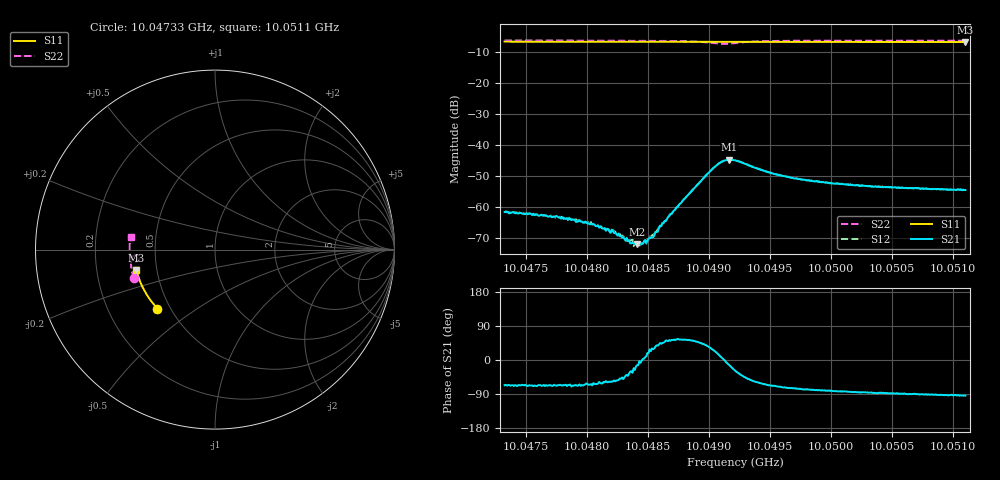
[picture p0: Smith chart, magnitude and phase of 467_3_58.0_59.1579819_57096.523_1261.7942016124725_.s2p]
#  HZ  S  RI  R  50.00
! Rohde & Schwarz Vector Network Analyzer
! Rohde-Schwarz,ZNB20-2Port,1311601062101988,3.16
! Created: UTC 3/21/2024, 1:11:13 AM
! freq[Hz]  re:S11  im:S11  re:S21  im:S21  re:S12  im:S12  re:S22  im:S22
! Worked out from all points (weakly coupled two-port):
!   401 points, 10.04733 GHz to 10.0511 GHz, reference 50 ohm
!   highest |S21| = -44.66 dB at 10.04917 GHz (marker M1); lowest = -71.9 dB at 10.04841 GHz (marker M2)
!   lowest |S11| = -6.9 dB at 10.0511 GHz (marker M3), VSWR 2.65, Z = 19.1 - j5.46 ohm
!   |S11| at or under -10 dB: nowhere
!   |S22| runs from -7.5 to -6.4 dB; largest |S21 - S12| = 0.0004
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1.0047328e10  -0.3205 -0.3283  0.000334 -0.00077  0.000395 -0.00074  -0.4515 -0.1605
1.0047781e10  -0.3404 -0.306  0.000286 -0.000625  0.00033 -0.000616  -0.4601 -0.1306
1.004796e10  -0.3479 -0.2967  0.000239 -0.000543  0.000269 -0.000537  -0.4628 -0.1182
1.0048035e10  -0.351 -0.293  0.000238 -0.000484  0.000298 -0.000501  -0.4639 -0.1129
1.0048233e10  -0.3589 -0.2826  0.000213 -0.00032  0.000254 -0.000322  -0.4663 -0.0986
1.004829e10  -0.3611 -0.2796  0.000227 -0.000236  0.000264 -0.000234  -0.4669 -0.0943
1.0048328e10  -0.3625 -0.2776  0.00025 -0.000205  0.000243 -0.000161  -0.4673 -0.0915
1.0048356e10  -0.3638 -0.276  0.000226 -0.000136  0.000252 -0.000159  -0.4675 -0.0893
1.0048412e10  -0.3658 -0.273  0.000246 -6.08e-05  0.00027 -3.68e-05  -0.4678 -0.0847
1.0048441e10  -0.3669 -0.2714  0.000262 -3.32e-05  0.000249 2.06e-05  -0.468 -0.0827
1.0048507e10  -0.3694 -0.268  0.000299 0.000102  0.000288 0.000107  -0.4682 -0.0771
1.0048563e10  -0.3716 -0.2649  0.00033 0.000238  0.000315 0.00026  -0.4681 -0.0723
1.0048592e10  -0.3726 -0.2634  0.000358 0.000312  0.000326 0.00033  -0.468 -0.0698
1.004879e10  -0.3795 -0.2523  0.000766 0.00106  0.000696 0.00113  -0.4645 -0.0504
1.0049007e10  -0.3866 -0.2399  0.00313 0.00203  0.00301 0.00224  -0.4416 -0.03
1.0049091e10  -0.3892 -0.2352  0.00509 0.000971  0.00506 0.0013  -0.4245 -0.0375
1.0049167e10  -0.3915 -0.2311  0.00568 -0.00139  0.00581 -0.00105  -0.4225 -0.0561
1.0049214e10  -0.393 -0.2284  0.00503 -0.00267  0.00524 -0.00235  -0.4307 -0.0646
1.0049525e10  -0.4028 -0.2106  0.00128 -0.00324  0.00148 -0.00317  -0.4683 -0.0447
1.0049846e10  -0.4118 -0.1914  0.000515 -0.00259  0.000675 -0.00259  -0.4748 -0.0165
1.0050478e10  -0.4265 -0.1528  6.64e-05 -0.0021  0.000207 -0.0021  -0.4754 0.0301
1.00511e10  -0.4376 -0.1136  -0.000139 -0.0019  -9.76e-06 -0.00189  -0.4706 0.0724
